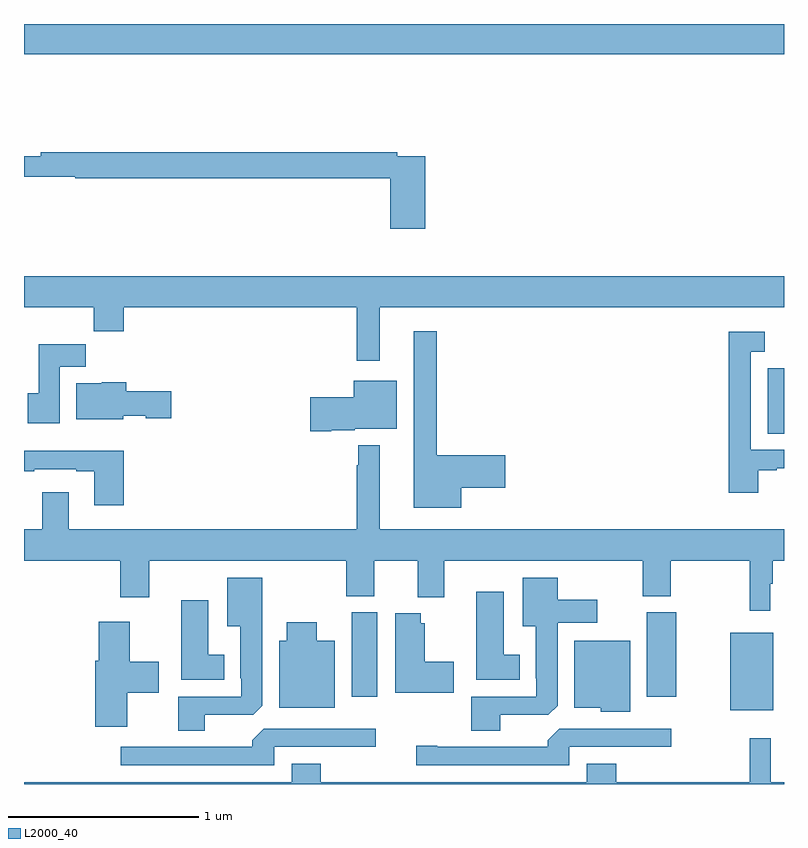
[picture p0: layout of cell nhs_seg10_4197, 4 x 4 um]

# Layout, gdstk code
import gdstk
lib = gdstk.Library(unit=1e-6, precision=1e-09)
def R(c, l, rs):  # rectangles x0, y0, x1, y1
    for r in rs: c.add(gdstk.rectangle(r[:2], r[2:], *l))
def P(c, l, *ps):  # polygons
    for p in ps: c.add(gdstk.Polygon(p, *l))
L2000_40 = (2000, 40)

nhs_seg10_4197 = lib.new_cell('nhs_seg10_4197')
R(nhs_seg10_4197, L2000_40, [(348.716,1272.887,348.943,1273.297), (346.724,1272.96,346.858,1273.404), (348.278,1272.96,348.433,1273.404), (348.914,1274.344,349,1274.688), (345,1276.34,349,1276.5)])
P(nhs_seg10_4197, L2000_40, [(347.111,1275.804),(346.964,1275.804),(346.964,1275.824),(345.088,1275.824),(345.088,1275.805),(345,1275.805),(345,1275.696),(345.269,1275.696),(345.269,1275.688),(346.928,1275.688),(346.928,1275.423),(347.111,1275.423)],
  [(346.873,1275.008),(349,1275.008),(349,1275.172),(345,1275.172),(345,1275.008),(345.367,1275.008),(345.367,1274.884),(345.524,1274.884),(345.524,1275.008),(346.752,1275.008),(346.752,1274.727),(346.873,1274.727)],
  [(347.302,1274.06),(347.533,1274.06),(347.533,1274.231),(347.173,1274.231),(347.173,1274.884),(347.051,1274.884),(347.051,1273.955),(347.302,1273.955)],
  [(348.865,1274.151),(348.961,1274.151),(348.961,1274.163),(349,1274.163),(349,1274.259),(348.825,1274.259),(348.825,1274.775),(348.898,1274.775),(348.898,1274.881),(348.709,1274.881),(348.709,1274.034),(348.865,1274.034)],
  [(345.187,1274.696),(345.326,1274.696),(345.326,1274.815),(345.077,1274.815),(345.077,1274.556),(345.02,1274.556),(345.02,1274.4),(345.187,1274.4)],
  [(346.618,1274.363),(346.74,1274.363),(346.74,1274.369),(346.963,1274.369),(346.963,1274.623),(346.736,1274.623),(346.736,1274.535),(346.506,1274.535),(346.506,1274.357),(346.618,1274.357)],
  [(345.522,1274.438),(345.642,1274.438),(345.642,1274.426),(345.775,1274.426),(345.775,1274.568),(345.539,1274.568),(345.539,1274.614),(345.408,1274.614),(345.408,1274.608),(345.275,1274.608),(345.275,1274.42),(345.522,1274.42)],
  [(348.928,1273.553),(348.94,1273.553),(348.94,1273.676),(349,1273.676),(349,1273.84),(346.873,1273.84),(346.873,1274.284),(346.759,1274.284),(346.759,1274.177),(346.752,1274.177),(346.752,1273.84),(345.235,1273.84),(345.235,1274.035),(345.095,1274.035),(345.095,1273.84),(345,1273.84),(345,1273.676),(345.506,1273.676),(345.506,1273.482),(345.658,1273.482),(345.658,1273.676),(346.696,1273.676),(346.696,1273.489),(346.843,1273.489),(346.843,1273.676),(347.072,1273.676),(347.072,1273.484),(347.212,1273.484),(347.212,1273.676),(348.257,1273.676),(348.257,1273.489),(348.405,1273.489),(348.405,1273.676),(348.819,1273.676),(348.819,1273.413),(348.928,1273.413)],
  [(345.524,1274.254),(345,1274.254),(345,1274.145),(345.055,1274.145),(345.055,1274.157),(345.275,1274.157),(345.275,1274.145),(345.371,1274.145),(345.371,1273.968),(345.524,1273.968)],
  [(347.506,1272.864),(347.76,1272.864),(347.809,1272.913),(347.809,1273.349),(348.016,1273.349),(348.016,1273.471),(347.809,1273.471),(347.809,1273.585),(347.624,1273.585),(347.624,1273.331),(347.693,1273.331),(347.693,1273.057),(347.697,1273.057),(347.697,1272.96),(347.354,1272.96),(347.354,1272.781),(347.506,1272.781)],
  [(345.952,1272.864),(346.206,1272.864),(346.255,1272.913),(346.255,1273.585),(346.07,1273.585),(346.07,1273.331),(346.139,1273.331),(346.139,1273.057),(346.143,1273.057),(346.143,1272.96),(345.812,1272.96),(345.812,1272.781),(345.952,1272.781)],
  [(347.608,1273.18),(347.524,1273.18),(347.524,1273.513),(347.381,1273.513),(347.381,1273.049),(347.608,1273.049)],
  [(346.054,1273.18),(345.97,1273.18),(345.97,1273.468),(345.827,1273.468),(345.827,1273.049),(346.054,1273.049)],
  [(347.263,1273.143),(347.11,1273.143),(347.11,1273.345),(347.088,1273.345),(347.088,1273.399),(346.955,1273.399),(346.955,1272.98),(347.263,1272.98)],
  [(345.544,1272.98),(345.709,1272.98),(345.709,1273.143),(345.556,1273.143),(345.556,1273.354),(345.394,1273.354),(345.394,1273.149),(345.374,1273.149),(345.374,1272.801),(345.544,1272.801)],
  [(346.636,1273.255),(346.54,1273.255),(346.54,1273.351),(346.382,1273.351),(346.382,1273.255),(346.343,1273.255),(346.343,1272.902),(346.636,1272.902)],
  [(348.19,1273.255),(347.897,1273.255),(347.897,1272.902),(348.036,1272.902),(348.036,1272.881),(348.19,1272.881)],
  [(347.871,1272.696),(348.406,1272.696),(348.406,1272.792),(347.817,1272.792),(347.756,1272.73),(347.756,1272.696),(347.176,1272.696),(347.176,1272.701),(347.064,1272.701),(347.064,1272.6),(347.871,1272.6)],
  [(346.317,1272.696),(346.852,1272.696),(346.852,1272.792),(346.263,1272.792),(346.202,1272.73),(346.202,1272.696),(345.51,1272.696),(345.51,1272.6),(346.317,1272.6)],
  [(349,1272.508),(348.929,1272.508),(348.929,1272.742),(348.819,1272.742),(348.819,1272.508),(348.116,1272.508),(348.116,1272.607),(347.963,1272.607),(347.963,1272.508),(346.562,1272.508),(346.562,1272.607),(346.409,1272.607),(346.409,1272.508),(345,1272.508),(345,1272.5),(349,1272.5)])

lib.write_gds('nhs_seg10_4197.gds')
